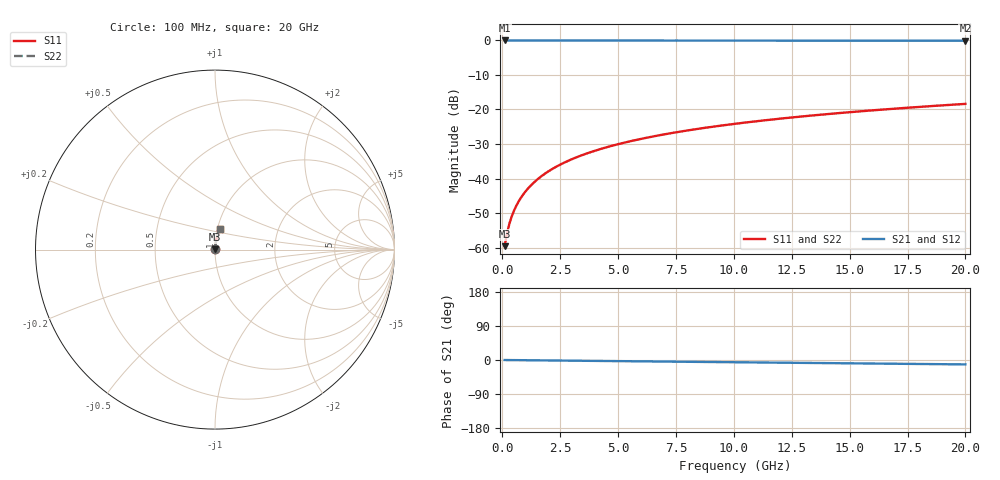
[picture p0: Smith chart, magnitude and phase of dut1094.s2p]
! Touchstone file exported from HFSS 2026.1.0
!  File:  C:/ffzhzh/LocalFiles/Ansys_Project_Files/temp_train_BSMRDL_1094_1783174661_18472.aedt
!  Generated:  10:18:53 PM Jul  4, 2026
!  Design:  BSMRDL
!  Project:  temp_train_BSMRDL_1094_1783174661_18472
! Variables:
!  h_bsmrdl = 4.03um
!  h_ox = 20um
!  h_rdl = 5um
!  h_sub = 80um
!  h_tmrdl = 5um
!  h_tsv = 80um
!  h_via = 3um
!  l_bsmrdl = 134.87um
!  l_sub = 534.87um
!  l_tmrdl = 200um
!  m_sub = 200um
!  pitch = 43.88um
!  r_tsv = 6um
!  s_tmrdl = 10um
!  w_bsmrdl = 19.56um
!  w_sub = 500um
!  w_tmrdl = 12um
!  x_tsv_center1 = 206um
!  x_tsv_center2 = 360.43um
!  x_tsv_center3 = 572.43um
!  x_tsv_center4 = 726.86um
!  x_tsv_center5 = 938.86um
!  x_tsv_center6 = 1093.29um
# GHz S MA R 50.000000
! Terminal data exported
! Port[1] = BSM_RDL1_1_T1
! Port[2] = BSM_RDL1_1_T2
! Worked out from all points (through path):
!   200 points, 100 MHz to 20 GHz, reference 50 ohm
!   highest |S21| = -0.01 dB at 100 MHz (marker M1); lowest = -0.1 dB at 20 GHz (marker M2)
!   group delay of S21, straight-line fit = 1.61 ps
!   lowest |S11| = -59.6 dB at 100 MHz (marker M3), VSWR 1.00, Z = 50.1 + j0.0686 ohm
!   |S11| at or under -10 dB: start of sweep to end of sweep
!   |S22| runs from -59.6 to -18.4 dB; largest |S21 - S12| = 3.1e-15
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0.1  0.001046 40.9  0.9992 -0.1  0.9992 -0.1  0.001046 40.9
! Gamma 0 0 0 0
! Port Impedance 50 0 50 0
0.2  0.001584 58.5  0.9992 -0.1  0.9992 -0.1  0.001584 58.5
0.3  0.002175 66.5  0.9991 -0.2  0.9991 -0.2  0.002175 66.5
0.4  0.002779 71.1  0.9991 -0.2  0.9991 -0.2  0.002779 71.1
0.5  0.003387 74.1  0.9991 -0.3  0.9991 -0.3  0.003387 74.1
0.6  0.003999 76.2  0.9991 -0.4  0.9991 -0.4  0.003999 76.2
0.8  0.005234 79.0  0.999 -0.5  0.999 -0.5  0.005234 79.0
1.1  0.007102 81.4  0.999 -0.7  0.999 -0.7  0.007102 81.4
1.5  0.009608 83.0  0.9989 -0.9  0.9989 -0.9  0.009608 83.0
1.8  0.01149 83.6  0.9989 -1.1  0.9989 -1.1  0.01149 83.6
2.1  0.01337 84.0  0.9988 -1.3  0.9988 -1.3  0.01337 84.0
2.7  0.01714 84.4  0.9987 -1.6  0.9987 -1.6  0.01714 84.4
3.5  0.02213 84.5  0.9984 -2.1  0.9984 -2.1  0.02213 84.5
4.2  0.02647 84.4  0.9982 -2.5  0.9982 -2.5  0.02647 84.4
5  0.03141 84.1  0.9979 -3.0  0.9979 -3.0  0.03141 84.1
5.9  0.03693 83.8  0.9976 -3.5  0.9976 -3.5  0.03693 83.8
6.8  0.04242 83.4  0.9972 -4.0  0.9972 -4.0  0.04242 83.4
8.3  0.05149 82.7  0.9965 -4.9  0.9965 -4.9  0.05149 82.7
10.1  0.0623 81.8  0.9956 -5.9  0.9956 -5.9  0.0623 81.8
13.4  0.08192 80.1  0.9937 -7.9  0.9937 -7.9  0.08192 80.1
16.7  0.1013 78.4  0.9916 -9.7  0.9916 -9.7  0.1013 78.4
20  0.1205 76.7  0.9891 -11.6  0.9891 -11.6  0.1205 76.7
